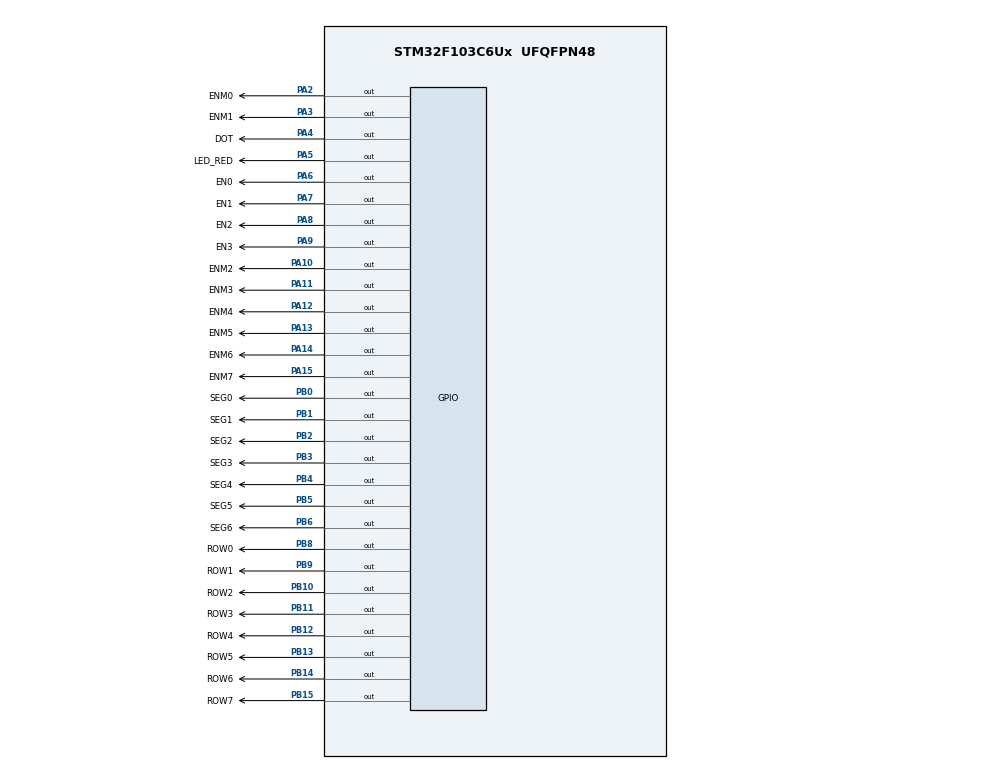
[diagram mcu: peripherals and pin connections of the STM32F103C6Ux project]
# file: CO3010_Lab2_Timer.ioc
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Mcu.Family=STM32F1
Mcu.Name=STM32F103C6Ux
Mcu.Package=UFQFPN48
NVIC.PriorityGroup=NVIC_PRIORITYGROUP_4
NVIC.TIM2_IRQn=true\:0\:0\:false\:false\:true\:true\:true\:true
PA10.GPIO_Label=ENM2
PA10.Signal=GPIO_Output
PA11.GPIO_Label=ENM3
PA11.Signal=GPIO_Output
PA12.GPIO_Label=ENM4
PA12.Signal=GPIO_Output
PA13.GPIO_Label=ENM5
PA13.Signal=GPIO_Output
PA14.GPIO_Label=ENM6
PA14.Signal=GPIO_Output
PA15.GPIO_Label=ENM7
PA15.Signal=GPIO_Output
PA2.GPIO_Label=ENM0
PA2.Signal=GPIO_Output
PA3.GPIO_Label=ENM1
PA3.Signal=GPIO_Output
PA4.GPIO_Label=DOT
PA4.Signal=GPIO_Output
PA5.GPIO_Label=LED_RED
PA5.Signal=GPIO_Output
PA6.GPIO_Label=EN0
PA6.Signal=GPIO_Output
PA7.GPIO_Label=EN1
PA7.Signal=GPIO_Output
PA8.GPIO_Label=EN2
PA8.Signal=GPIO_Output
PA9.GPIO_Label=EN3
PA9.Signal=GPIO_Output
PB0.GPIO_Label=SEG0
PB0.Signal=GPIO_Output
PB1.GPIO_Label=SEG1
PB1.Signal=GPIO_Output
PB10.GPIO_Label=ROW2
PB10.Signal=GPIO_Output
PB11.GPIO_Label=ROW3
PB11.Signal=GPIO_Output
PB12.GPIO_Label=ROW4
PB12.Signal=GPIO_Output
PB13.GPIO_Label=ROW5
PB13.Signal=GPIO_Output
PB14.GPIO_Label=ROW6
PB14.Signal=GPIO_Output
PB15.GPIO_Label=ROW7
PB15.Signal=GPIO_Output
PB2.GPIO_Label=SEG2
PB2.Signal=GPIO_Output
PB3.GPIO_Label=SEG3
PB3.Signal=GPIO_Output
PB4.GPIO_Label=SEG4
PB4.Signal=GPIO_Output
PB5.GPIO_Label=SEG5
PB5.Signal=GPIO_Output
PB6.GPIO_Label=SEG6
PB6.Signal=GPIO_Output
PB8.GPIO_Label=ROW0
PB8.Signal=GPIO_Output
PB9.GPIO_Label=ROW1
PB9.Signal=GPIO_Output
ProjectManager.HeapSize=0x200
ProjectManager.StackSize=0x400
ProjectManager.TargetToolchain=STM32CubeIDE
RCC.APB1Freq_Value=8000000
RCC.APB2Freq_Value=8000000
TIM2.Period=9
TIM2.Prescaler=7999
VP_SYS_VS_ND.Mode=No_Debug
VP_TIM2_VS_ClockSourceINT.Mode=Internal
board=custom

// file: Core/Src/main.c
/* USER CODE BEGIN Header */
/**
  ******************************************************************************
  * @file           : main.c
  * @brief          : Main program body
  ******************************************************************************
  * @attention
  *
  * Copyright (c) 2025 STMicroelectronics.
  * All rights reserved.
  *
  * This software is licensed under terms that can be found in the LICENSE file
  * in the root directory of this software component.
  * If no LICENSE file comes with this software, it is provided AS-IS.
  *
  ******************************************************************************
  */
/* USER CODE END Header */
#include "main.h"

/* USER CODE BEGIN Includes */
#include "exercise1.h"
#include "exercise2.h"
#include "exercise3.h"
#include "exercise4.h"
#include "exercise5.h"
#include "exercise6.h"
#include "exercise7.h"
#include "exercise8.h"
#include "exercise9.h"
#include "exercise10.h"
/* USER CODE END Includes */

/* USER CODE BEGIN PD */
#define RUN_EXERCISE 10
/* USER CODE END PD */

TIM_HandleTypeDef htim2;

void SystemClock_Config(void);
static void MX_GPIO_Init(void);
static void MX_TIM2_Init(void);
/* USER CODE BEGIN PFP */
void HAL_TIM_PeriodElapsedCallback(TIM_HandleTypeDef *htim);
/* USER CODE END PFP */

int main(void)
{

  /* MCU Configuration--------------------------------------------------------*/

  /* Reset of all peripherals, Initializes the Flash interface and the Systick. */
  HAL_Init();

  /* Configure the system clock */
  SystemClock_Config();

  /* Initialize all configured peripherals */
  MX_GPIO_Init();
  MX_TIM2_Init();
  /* USER CODE BEGIN 2 */
  HAL_TIM_Base_Start_IT(&htim2);

  switch (RUN_EXERCISE)
	{
	  case 1:
		  exercise1_init();
		  break;
	  case 2:
		  exercise2_init();
		  break;
	  case 3:
		  exercise3_init();
		  break;
	  case 4:
		  exercise4_init();
		  break;
	  case 5:
		  exercise5_init();
		  break;
	  case 6:
		  exercise6_init();
		  break;
	  case 7:
		  exercise7_init();
		  break;
	  case 8:
		  exercise8_init();
		  break;
	  case 9:
		  exercise9_init();
		  break;
	  case 10:
		  exercise10_init();
		  break;
	  default:
		  break;
	}

  /* USER CODE END 2 */

  /* Infinite loop */
  /* USER CODE BEGIN WHILE */
  while (1)
  {
      switch (RUN_EXERCISE)
      {
          case 1:
              exercise1_run();
              break;
          case 2:
              exercise2_run();
              break;
          case 3:
              exercise3_run();
              break;
          case 4:
              exercise4_run();
              break;
          case 5:
              exercise5_run();
              break;
          case 6:
              exercise6_run();
              break;
          case 7:
              exercise7_run();
              break;
          case 8:
              exercise8_run();
              break;
          case 9:
              exercise9_run();
              break;
          case 10:
              exercise10_run();
              break;
          default:
        	  break;
      }
    /* USER CODE END WHILE */

  }
}

void SystemClock_Config(void)
{
  RCC_OscInitTypeDef RCC_OscInitStruct = {0};
  RCC_ClkInitTypeDef RCC_ClkInitStruct = {0};

  /** Initializes the RCC Oscillators according to the specified parameters
  * in the RCC_OscInitTypeDef structure.
  */
  RCC_OscInitStruct.OscillatorType = RCC_OSCILLATORTYPE_HSI;
  RCC_OscInitStruct.HSIState = RCC_HSI_ON;
  RCC_OscInitStruct.HSICalibrationValue = RCC_HSICALIBRATION_DEFAULT;
  RCC_OscInitStruct.PLL.PLLState = RCC_PLL_NONE;
  if (HAL_RCC_OscConfig(&RCC_OscInitStruct) != HAL_OK)
  {
    Error_Handler();
  }

  /** Initializes the CPU, AHB and APB buses clocks
  */
  RCC_ClkInitStruct.ClockType = RCC_CLOCKTYPE_HCLK|RCC_CLOCKTYPE_SYSCLK
                              |RCC_CLOCKTYPE_PCLK1|RCC_CLOCKTYPE_PCLK2;
  RCC_ClkInitStruct.SYSCLKSource = RCC_SYSCLKSOURCE_HSI;
  RCC_ClkInitStruct.AHBCLKDivider = RCC_SYSCLK_DIV1;
  RCC_ClkInitStruct.APB1CLKDivider = RCC_HCLK_DIV1;
  RCC_ClkInitStruct.APB2CLKDivider = RCC_HCLK_DIV1;

  if (HAL_RCC_ClockConfig(&RCC_ClkInitStruct, FLASH_LATENCY_0) != HAL_OK)
  {
    Error_Handler();
  }
}

static void MX_TIM2_Init(void)
{

  TIM_ClockConfigTypeDef sClockSourceConfig = {0};
  TIM_MasterConfigTypeDef sMasterConfig = {0};

  htim2.Instance = TIM2;
  htim2.Init.Prescaler = 7999;
  htim2.Init.CounterMode = TIM_COUNTERMODE_UP;
  htim2.Init.Period = 9;
  htim2.Init.ClockDivision = TIM_CLOCKDIVISION_DIV1;
  htim2.Init.AutoReloadPreload = TIM_AUTORELOAD_PRELOAD_DISABLE;
  if (HAL_TIM_Base_Init(&htim2) != HAL_OK)
  {
    Error_Handler();
  }
  sClockSourceConfig.ClockSource = TIM_CLOCKSOURCE_INTERNAL;
  if (HAL_TIM_ConfigClockSource(&htim2, &sClockSourceConfig) != HAL_OK)
  {
    Error_Handler();
  }
  sMasterConfig.MasterOutputTrigger = TIM_TRGO_RESET;
  sMasterConfig.MasterSlaveMode = TIM_MASTERSLAVEMODE_DISABLE;
  if (HAL_TIMEx_MasterConfigSynchronization(&htim2, &sMasterConfig) != HAL_OK)
  {
    Error_Handler();
  }

}

static void MX_GPIO_Init(void)
{
  GPIO_InitTypeDef GPIO_InitStruct = {0};

  /* GPIO Ports Clock Enable */
  __HAL_RCC_GPIOA_CLK_ENABLE();
  __HAL_RCC_GPIOB_CLK_ENABLE();

  /*Configure GPIO pin Output Level */
  HAL_GPIO_WritePin(GPIOA, ENM0_Pin|ENM1_Pin|DOT_Pin|LED_RED_Pin
                          |EN0_Pin|EN1_Pin|EN2_Pin|EN3_Pin
                          |ENM2_Pin|ENM3_Pin|ENM4_Pin|ENM5_Pin
                          |ENM6_Pin|ENM7_Pin, GPIO_PIN_RESET);

  /*Configure GPIO pin Output Level */
  HAL_GPIO_WritePin(GPIOB, SEG0_Pin|SEG1_Pin|SEG2_Pin|ROW2_Pin
                          |ROW3_Pin|ROW4_Pin|ROW5_Pin|ROW6_Pin
                          |ROW7_Pin|SEG3_Pin|SEG4_Pin|SEG5_Pin
                          |SEG6_Pin|ROW0_Pin|ROW1_Pin, GPIO_PIN_RESET);

  /*Configure GPIO pins : ENM0_Pin ENM1_Pin DOT_Pin LED_RED_Pin
                           EN0_Pin EN1_Pin EN2_Pin EN3_Pin
                           ENM2_Pin ENM3_Pin ENM4_Pin ENM5_Pin
                           ENM6_Pin ENM7_Pin */
  GPIO_InitStruct.Pin = ENM0_Pin|ENM1_Pin|DOT_Pin|LED_RED_Pin
                          |EN0_Pin|EN1_Pin|EN2_Pin|EN3_Pin
                          |ENM2_Pin|ENM3_Pin|ENM4_Pin|ENM5_Pin
                          |ENM6_Pin|ENM7_Pin;
  GPIO_InitStruct.Mode = GPIO_MODE_OUTPUT_PP;
  GPIO_InitStruct.Pull = GPIO_NOPULL;
  GPIO_InitStruct.Speed = GPIO_SPEED_FREQ_LOW;
  HAL_GPIO_Init(GPIOA, &GPIO_InitStruct);

  /*Configure GPIO pins : SEG0_Pin SEG1_Pin SEG2_Pin ROW2_Pin
                           ROW3_Pin ROW4_Pin ROW5_Pin ROW6_Pin
                           ROW7_Pin SEG3_Pin SEG4_Pin SEG5_Pin
                           SEG6_Pin ROW0_Pin ROW1_Pin */
  GPIO_InitStruct.Pin = SEG0_Pin|SEG1_Pin|SEG2_Pin|ROW2_Pin
                          |ROW3_Pin|ROW4_Pin|ROW5_Pin|ROW6_Pin
                          |ROW7_Pin|SEG3_Pin|SEG4_Pin|SEG5_Pin
                          |SEG6_Pin|ROW0_Pin|ROW1_Pin;
  GPIO_InitStruct.Mode = GPIO_MODE_OUTPUT_PP;
  GPIO_InitStruct.Pull = GPIO_NOPULL;
  GPIO_InitStruct.Speed = GPIO_SPEED_FREQ_LOW;
  HAL_GPIO_Init(GPIOB, &GPIO_InitStruct);

}

/* USER CODE BEGIN 4 */
void HAL_TIM_PeriodElapsedCallback(TIM_HandleTypeDef *htim)
{
	timerRun();
	timer_run();
}
/* USER CODE END 4 */

void Error_Handler(void)
{
  __disable_irq();
  while (1)
  {
  }
}
